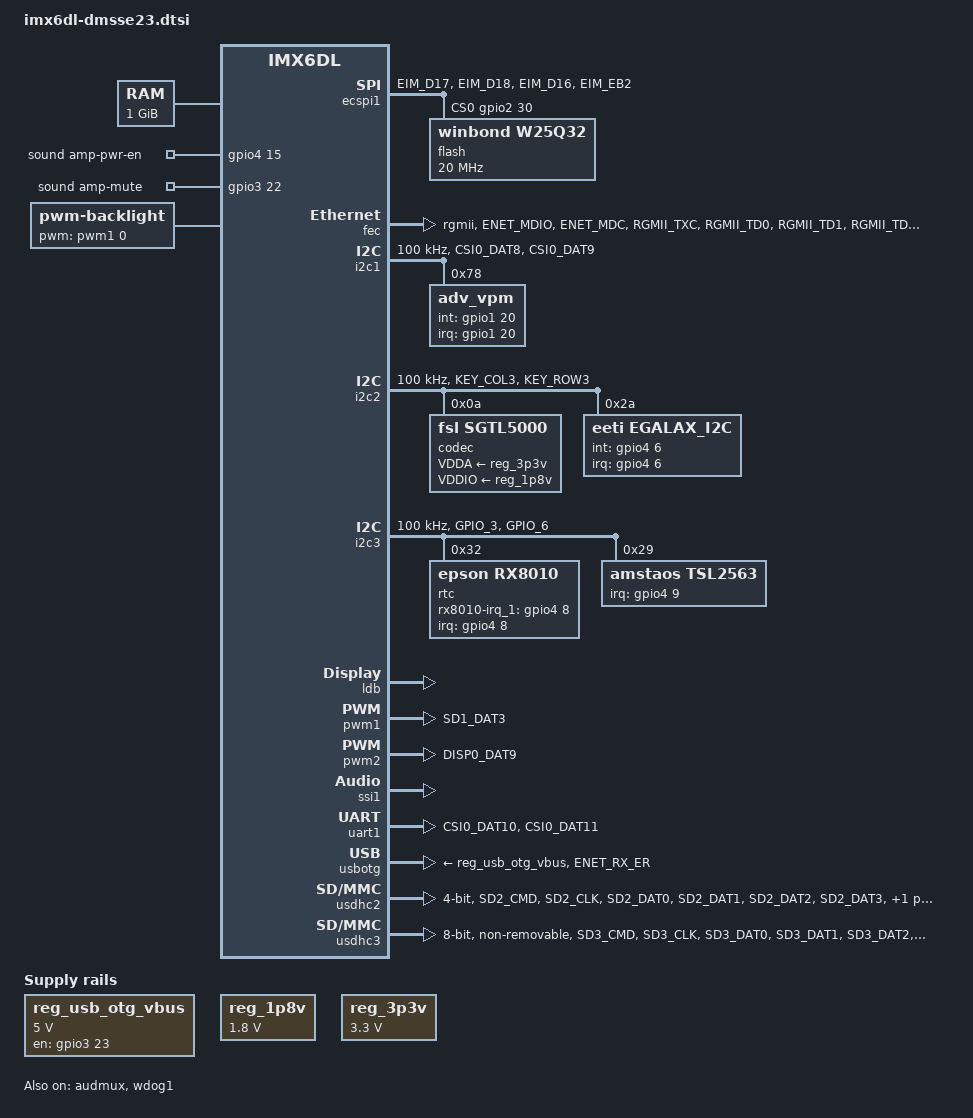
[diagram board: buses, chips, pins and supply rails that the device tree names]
/*
 * Copyright 2012-2016 Freescale Semiconductor, Inc.
 * Copyright 2011 Linaro Ltd.
 *
 * The code contained herein is licensed under the GNU General Public
 * License. You may obtain a copy of the GNU General Public License
 * Version 2 or later at the following locations:
 *
 * http://www.opensource.org/licenses/gpl-license.html
 * http://www.gnu.org/copyleft/gpl.html
 */

#include <dt-bindings/gpio/gpio.h>
#include <dt-bindings/input/input.h>

/ {
	aliases {
		mxcfb0 = &mxcfb1;
		mxcfb1 = &mxcfb2;
		mxcfb2 = &mxcfb3;
		mxcfb3 = &mxcfb4;
	};

	chosen {
		stdout-path = &uart1;
	};

	memory: memory {
		reg = <0x10000000 0x40000000>;
	};

	regulators {
		compatible = "simple-bus";
		#address-cells = <1>;
		#size-cells = <0>;

		reg_usb_otg_vbus: regulator@0 {
			compatible = "regulator-fixed";
			reg = <0>;
			regulator-name = "usb_otg_vbus";
			regulator-min-microvolt = <5000000>;
			regulator-max-microvolt = <5000000>;
			gpio = <&gpio3 23 0>;
			enable-active-high;
		};

		reg_1p8v: 1p8v {
			compatible = "regulator-fixed";
			regulator-name = "1P8V";
			regulator-min-microvolt = <1800000>;
			regulator-max-microvolt = <1800000>;
			regulator-always-on;
		};

		reg_3p3v: 3p3v {
			compatible = "regulator-fixed";
			regulator-name = "3P3V";
			regulator-min-microvolt = <3300000>;
			regulator-max-microvolt = <3300000>;
			regulator-always-on;
		};
	};
	sound {
		compatible = "fsl,imx6q-se01-sgtl5000",
			     "fsl,imx-audio-sgtl5000";
		model = "imx6q-sgtl5000";
		ssi-controller = <&ssi1>;
		audio-codec = <&codec>;
		audio-routing =
			"MIC_IN", "Mic Jack",
		        "Mic Jack", "Mic Bias",
		        "Headphone Jack", "HP_OUT",
			"Ext Spk", "LINE_OUT",
			"LINE_IN", "Line In Jack";
		mux-int-port = <1>;
		mux-ext-port = <3>;
		amp-pwr-en-gpios = <&gpio4 15 0>;
		amp-mute-gpios = <&gpio3 22 0>;
	};

	mxcfb1: fb@0 {
		compatible = "fsl,mxc_sdc_fb";
		disp_dev = "ldb";
		interface_pix_fmt = "RGB24";
		default_bpp = <32>;
		int_clk = <0>;
		late_init = <0>;
		status = "disabled";
	};

	mxcfb2: fb@1 {
		compatible = "fsl,mxc_sdc_fb";
		disp_dev = "hdmi";
		interface_pix_fmt = "RGB24";
		mode_str ="1920x1080M@60";
		default_bpp = <24>;
		int_clk = <0>;
		late_init = <0>;
		status = "disabled";
	};

	mxcfb3: fb@2 {
		compatible = "fsl,mxc_sdc_fb";
		disp_dev = "lcd";
		interface_pix_fmt = "RGB565";
		mode_str ="CLAA-WVGA";
		default_bpp = <16>;
		int_clk = <0>;
		late_init = <0>;
		status = "disabled";
	};

	mxcfb4: fb@3 {
		compatible = "fsl,mxc_sdc_fb";
		disp_dev = "ldb";
		interface_pix_fmt = "RGB666";
		default_bpp = <16>;
		int_clk = <0>;
		late_init = <0>;
		status = "disabled";
	};

	backlight {
		compatible = "pwm-backlight";
		pwms = <&pwm1 0 5000000>;
		brightness-levels = <0   1   2   3   4   5   6   7   8   9
						    10  11  12  13  14  15  16  17  18  19
						    20  21  22  23  24  25  26  27  28  29
						    30  31  32  33  34  35  36  37  38  39
						    40  41  42  43  44  45  46  47  48  49
						    50  51  52  53  54  55  56  57  58  59
						    60  61  62  63  64  65  66  67  68  69
						    70  71  72  73  74  75  76  77  78  79
						    80  81  82  83  84  85  86  87  88  89
						    90  91  92  93  94  95  96  97  98  99
						   100 101 102 103 104 105 106 107 108 109
						   110 111 112 113 114 115 116 117 118 119
						   120 121 122 123 124 125 126 127 128 129
						   130 131 132 133 134 135 136 137 138 139
						   140 141 142 143 144 145 146 147 148 149
						   150 151 152 153 154 155 156 157 158 159
						   160 161 162 163 164 165 166 167 168 169
						   170 171 172 173 174 175 176 177 178 179
						   180 181 182 183 184 185 186 187 188 189
						   190 191 192 193 194 195 196 197 198 199
						   200 201 202 203 204 205 206 207 208 209
						   210 211 212 213 214 215 216 217 218 219
						   220 221 222 223 224 225 226 227 228 229
						   230 231 232 233 234 235 236 237 238 239
						   240 241 242 243 244 245 246 247 248 249
						   250 251 252 253 254 255>;
		default-brightness-level = <255>;
		status = "okay";
	};

	v4l2_cap_0 {
		compatible = "fsl,imx6q-v4l2-capture";
		ipu_id = <0>;
		csi_id = <0>;
		mclk_source = <0>;
		status = "okay";
	};

	v4l2_cap_1 {
		compatible = "fsl,imx6q-v4l2-capture";
		ipu_id = <0>;
		csi_id = <1>;
		mclk_source = <0>;
		status = "okay";
	};

	v4l2_out {
		compatible = "fsl,mxc_v4l2_output";
		status = "okay";
	};
};

&audmux {
	pinctrl-names = "default";
	pinctrl-0 = <&pinctrl_audmux>;
	status = "okay";
};

&clks {
	fsl,ldb-di0-parent = <&clks IMX6QDL_CLK_PLL2_PFD0_352M>;
	fsl,ldb-di1-parent = <&clks IMX6QDL_CLK_PLL2_PFD0_352M>;
};

&ecspi1 {
	fsl,spi-num-chipselects = <1>;
	cs-gpios = <&gpio2 30 0>;
	pinctrl-names = "default";
	pinctrl-0 = <&pinctrl_ecspi1>;
	status = "okay";

	flash: m25p80@0 {
		#address-cells = <1>;
		#size-cells = <1>;
		compatible = "winbond,w25q32";
		spi-max-frequency = <20000000>;
		reg = <0>;

		mtd0@00000000 {
			label = "bootloader";
			reg = <0x00000000 0x003C0000>;
		};

		mtd1@003C0000 {
			label = "config";
			reg = <0x003C0000 0x00020000>;
		};

		mtd2@003E0000 {
			label = "info";
			reg = <0x003E0000 0x00020000>;
		};
	};
};

&fec {
	pinctrl-names = "default";
	pinctrl-0 = <&pinctrl_enet>;
	phy-mode = "rgmii";
	phy-reset-gpios = <&gpio1 25 0>;
	fsl,magic-packet;
	status = "okay";
};

&gpc {
	fsl,ldo-bypass = <0>;
};

&i2c1 {
	clock-frequency = <100000>;
	pinctrl-names = "default";
	pinctrl-0 = <&pinctrl_i2c1>;
	status = "okay";
	
	adv_vpm: adv_vpm@78 {
		compatible = "adv_vpm";
		reg = <0x78>;
		interrupt-parent = <&gpio1>;
		interrupts = <20 1>;
		int-gpios = <&gpio1 20 0>;
	};
};

&i2c2 {
	clock-frequency = <100000>;
	pinctrl-names = "default";
	pinctrl-0 = <&pinctrl_i2c2>;
	status = "okay";
	
	codec: sgtl5000@0a {
		compatible = "fsl,sgtl5000";
		reg = <0x0a>;
		clocks = <&clks 201>;
		VDDA-supply = <&reg_3p3v>;
		VDDIO-supply = <&reg_1p8v>;
	};

	egalax_i2c@2a {
		compatible = "eeti,egalax_i2c";
		reg = <0x2a>;
		interrupt-parent = <&gpio4>;
		interrupts = <6 8>;
		int-gpios = <&gpio4 6 0>;
	};
};

&i2c3 {
	clock-frequency = <100000>;
	pinctrl-names = "default";
	pinctrl-0 = <&pinctrl_i2c3>;
	status = "okay";

	rtc@32 {
		compatible = "epson,rx8010";
		reg = <0x32>;
		interrupt-parent = <&gpio4>;
		interrupts = <8>;
		rx8010-irq_1 = <&gpio4 8 0>;
	};

	tsl2563: tsl2563@29 {
		compatible = "amstaos,tsl2563";
		reg = <0x29>;
		interrupt-parent = <&gpio4>;
		interrupts = <9 2>;
		amstaos,cover-comp-gain = <16>;
	};	
};

&iomuxc {
	pinctrl-names = "default";
	pinctrl-0 = <&pinctrl_hog>;

	imx6qdl-sabresd {
		pinctrl_hog: hoggrp {
			fsl,pins = <
				MX6QDL_PAD_GPIO_0__GPIO1_IO00      0x80000000
				MX6QDL_PAD_ENET_CRS_DV__GPIO1_IO25 0x80000000
				MX6QDL_PAD_EIM_D26__GPIO3_IO26 0x80000000
				MX6QDL_PAD_EIM_D27__GPIO3_IO27 0x80000000
				MX6QDL_PAD_ENET_RXD0__GPIO1_IO27 0x80000000
				MX6QDL_PAD_EIM_D23__GPIO3_IO23 0x80000000
				MX6QDL_PAD_SD1_CMD__GPIO1_IO18 0x80000000
				MX6QDL_PAD_SD3_RST__GPIO7_IO08	0x80000000
				MX6QDL_PAD_EIM_DA9__GPIO3_IO09 0x80000000
				MX6QDL_PAD_GPIO_4__GPIO1_IO04 0x80000000
				MX6QDL_PAD_KEY_COL0__GPIO4_IO06 0x80000000 //Touch INT
				MX6QDL_PAD_KEY_COL1__GPIO4_IO08 0x80000000
				MX6QDL_PAD_KEY_ROW4__GPIO4_IO15  0x80000000 // AMP_EN
				MX6QDL_PAD_EIM_D22__GPIO3_IO22  0x80000000 // MUTE
				MX6QDL_PAD_SD1_CLK__GPIO1_IO20  0x80000000 // VPM INT
				MX6QDL_PAD_KEY_ROW1__GPIO4_IO09 0x80000000
				MX6QDL_PAD_GPIO_0__GPIO1_IO00 0x80000000
			>;
		};

		pinctrl_ecspi1: ecspi1grp {
			fsl,pins = <
				MX6QDL_PAD_EIM_D17__ECSPI1_MISO    0x100b1
				MX6QDL_PAD_EIM_D18__ECSPI1_MOSI    0x100b1
				MX6QDL_PAD_EIM_D16__ECSPI1_SCLK    0x100b1
				MX6QDL_PAD_EIM_EB2__GPIO2_IO30     0x1b0b0
			>;
		};

		pinctrl_enet: enetgrp {
			fsl,pins = <
				MX6QDL_PAD_ENET_MDIO__ENET_MDIO		0x1b0b0
				MX6QDL_PAD_ENET_MDC__ENET_MDC		0x1b0b0
				MX6QDL_PAD_RGMII_TXC__RGMII_TXC		0x1b0b0
				MX6QDL_PAD_RGMII_TD0__RGMII_TD0		0x1b0b0
				MX6QDL_PAD_RGMII_TD1__RGMII_TD1		0x1b0b0
				MX6QDL_PAD_RGMII_TD2__RGMII_TD2		0x1b0b0
				MX6QDL_PAD_RGMII_TD3__RGMII_TD3		0x1b0b0
				MX6QDL_PAD_RGMII_TX_CTL__RGMII_TX_CTL	0x1b0b0
				MX6QDL_PAD_ENET_REF_CLK__ENET_TX_CLK	0x1b0b0
				MX6QDL_PAD_RGMII_RXC__RGMII_RXC		0x1b0b0
				MX6QDL_PAD_RGMII_RD0__RGMII_RD0		0x1b0b0
				MX6QDL_PAD_RGMII_RD1__RGMII_RD1		0x1b0b0
				MX6QDL_PAD_RGMII_RD2__RGMII_RD2		0x1b0b0
				MX6QDL_PAD_RGMII_RD3__RGMII_RD3		0x1b0b0
				MX6QDL_PAD_RGMII_RX_CTL__RGMII_RX_CTL	0x1b0b0
				MX6QDL_PAD_GPIO_16__ENET_REF_CLK	0x4001b0a8
			>;
		};

		pinctrl_enet_irq: enetirqgrp {
			fsl,pins = <
				MX6QDL_PAD_GPIO_6__ENET_IRQ		0x000b1
			>;
		};

		pinctrl_i2c1: i2c1grp {
			fsl,pins = <
				MX6QDL_PAD_CSI0_DAT8__I2C1_SDA		0x4001b8b1
				MX6QDL_PAD_CSI0_DAT9__I2C1_SCL		0x4001b8b1
			>;
		};

		pinctrl_i2c2: i2c2grp {
			fsl,pins = <
				MX6QDL_PAD_KEY_COL3__I2C2_SCL		0x4001b8b1
				MX6QDL_PAD_KEY_ROW3__I2C2_SDA		0x4001b8b1
			>;
		};

		pinctrl_i2c3: i2c3grp {
			fsl,pins = <
				MX6QDL_PAD_GPIO_3__I2C3_SCL		0x4001b8b1
				MX6QDL_PAD_GPIO_6__I2C3_SDA		0x4001b8b1
			>;
		};

		pinctrl_pwm1: pwm1grp {
			fsl,pins = <
				MX6QDL_PAD_SD1_DAT3__PWM1_OUT		0x1b0b1
			>;
		};

		pinctrl_pwm2: pwm2grp {
			fsl,pins = <
				MX6QDL_PAD_DISP0_DAT9__PWM2_OUT		0x1b0b1
			>;
		};

		pinctrl_uart1: uart1grp {
			fsl,pins = <
				MX6QDL_PAD_CSI0_DAT10__UART1_TX_DATA	0x1b0b1
				MX6QDL_PAD_CSI0_DAT11__UART1_RX_DATA	0x1b0b1
			>;
		};

		pinctrl_usbotg: usbotggrp {
			fsl,pins = <
				MX6QDL_PAD_ENET_RX_ER__USB_OTG_ID	0x17059
			>;
		};

		pinctrl_usdhc2: usdhc2grp {
			fsl,pins = <
				MX6QDL_PAD_SD2_CMD__SD2_CMD		0x17059
				MX6QDL_PAD_SD2_CLK__SD2_CLK		0x10059
				MX6QDL_PAD_SD2_DAT0__SD2_DATA0		0x17059
				MX6QDL_PAD_SD2_DAT1__SD2_DATA1		0x17059
				MX6QDL_PAD_SD2_DAT2__SD2_DATA2		0x17059
				MX6QDL_PAD_SD2_DAT3__SD2_DATA3		0x17059
			>;
		};

		pinctrl_usdhc3: usdhc3grp {
			fsl,pins = <
				MX6QDL_PAD_SD3_CMD__SD3_CMD		0x17059
				MX6QDL_PAD_SD3_CLK__SD3_CLK		0x10059
				MX6QDL_PAD_SD3_DAT0__SD3_DATA0		0x17059
				MX6QDL_PAD_SD3_DAT1__SD3_DATA1		0x17059
				MX6QDL_PAD_SD3_DAT2__SD3_DATA2		0x17059
				MX6QDL_PAD_SD3_DAT3__SD3_DATA3		0x17059
				MX6QDL_PAD_SD3_DAT4__SD3_DATA4		0x17059
				MX6QDL_PAD_SD3_DAT5__SD3_DATA5		0x17059
				MX6QDL_PAD_SD3_DAT6__SD3_DATA6		0x17059
				MX6QDL_PAD_SD3_DAT7__SD3_DATA7		0x17059
			>;
		};

		pinctrl_audmux: audmuxgrp {
			fsl,pins = <
				MX6QDL_PAD_CSI0_DAT4__AUD3_TXC  0x130b0
				MX6QDL_PAD_CSI0_DAT5__AUD3_TXD  0x130b0
				MX6QDL_PAD_CSI0_DAT6__AUD3_TXFS  0x130b0
				MX6QDL_PAD_CSI0_DAT7__AUD3_RXD  0x130b0
				MX6QDL_PAD_NANDF_CS2__CCM_CLKO2		0x130b0 // AUDIO_CLK

				
			>;
		};
		
		pinctrl_wdog: wdoggrp {
			fsl,pins = <
				MX6QDL_PAD_GPIO_9__WDOG1_B 0x80000000
			>;
		};
	};
};

&ldb {
	status = "okay";

	lvds-channel@0 {
		fsl,data-mapping = "spwg";
		fsl,data-width = <24>;
		primary;
		status = "okay";

		display-timings {
			native-mode = <&timing0>;
			timing0: hsd100pxn1 {
				clock-frequency = <71100000>;
				hactive = <1280>;
				vactive = <800>;
				hback-porch = <80>;
				hfront-porch = <80>;
				vback-porch = <10>;
				vfront-porch = <10>;
				hsync-len = <1>;
				vsync-len = <3>;
			};
		};
	};

	lvds-channel@1 {
		fsl,data-mapping = "spwg";
		fsl,data-width = <18>;
		status = "disabled";

		display-timings {
			native-mode = <&timing1>;
			timing1: hsd100pxn1 {
				clock-frequency = <65000000>;
				hactive = <1024>;
				vactive = <768>;
				hback-porch = <220>;
				hfront-porch = <40>;
				vback-porch = <21>;
				vfront-porch = <7>;
				hsync-len = <60>;
				vsync-len = <10>;
			};
		};
	};
};

&pwm1 {
	pinctrl-names = "default";
	pinctrl-0 = <&pinctrl_pwm1>;
	status = "okay";
};

&pwm2 {
	pinctrl-names = "default";
	pinctrl-0 = <&pinctrl_pwm2>;
	status = "okay";
};

&snvs_poweroff {
	poweroff-gpio = <&gpio1 0 GPIO_ACTIVE_LOW>;
	status = "okay";
};

&ssi1 {
	fsl,mode = "i2s-slave";
	status = "okay";
};

&uart1 {
	pinctrl-names = "default";
	pinctrl-0 = <&pinctrl_uart1>;
	status = "okay";
};

&usbotg {
	vbus-supply = <&reg_usb_otg_vbus>;
	pinctrl-names = "default";
	pinctrl-0 = <&pinctrl_usbotg>;
	disable-over-current;
	srp-disable;
	hnp-disable;
	adp-disable;
	status = "okay";
};

&usbphy1 {
	tx-d-cal = <0x5>;
};

&usbphy2 {
	tx-d-cal = <0x5>;
};

&usdhc2 {
	pinctrl-names = "default";
	pinctrl-0 = <&pinctrl_usdhc2>;
	bus-width = <4>;
	cd-gpios = <&gpio1 4 GPIO_ACTIVE_LOW>;
	no-1-8-v;
	keep-power-in-suspend;
	enable-sdio-wakeup;
	status = "okay";
};

&usdhc3 {
	pinctrl-names = "default";
	pinctrl-0 = <&pinctrl_usdhc3>;
	bus-width = <8>;
	non-removable;
	no-1-8-v;
	keep-power-in-suspend;
	status = "okay";
};

&wdog1 {
	pinctrl-names = "default";
	pinctrl-0 = <&pinctrl_wdog>;
	fsl,wdog_b;
	status = "okay";
};

&wdog2 {
	status = "disabled";
};

